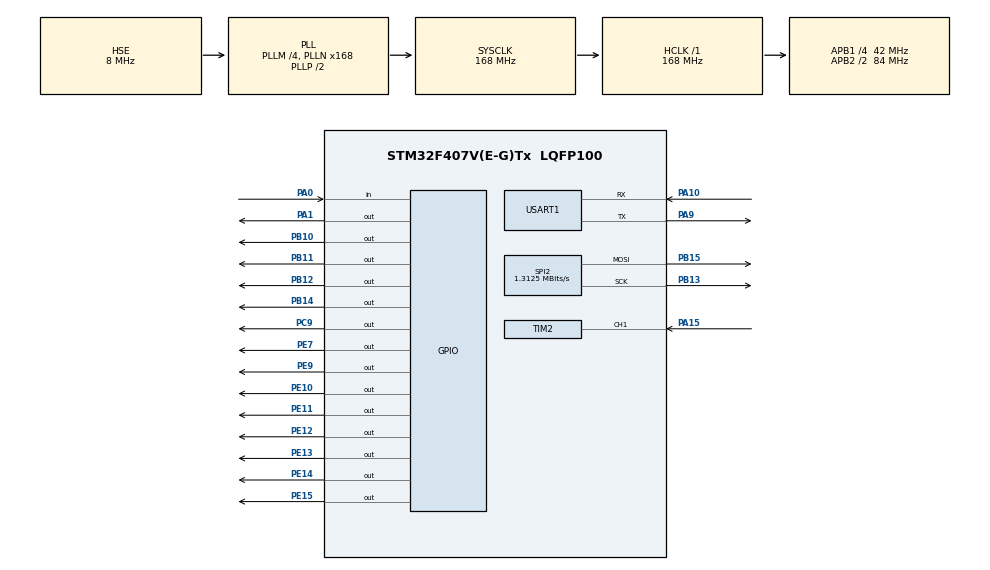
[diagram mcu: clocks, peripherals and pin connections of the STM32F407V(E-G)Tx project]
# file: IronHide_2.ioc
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Mcu.Family=STM32F4
Mcu.Name=STM32F407V(E-G)Tx
Mcu.Package=LQFP100
NVIC.PriorityGroup=NVIC_PRIORITYGROUP_4
NVIC.USART1_IRQn=true\:0\:0\:false\:false\:true\:true\:true
PA0-WKUP.GPIO_PuPd=GPIO_PULLDOWN
PA0-WKUP.Signal=GPIO_Input
PA1.Signal=GPIO_Output
PA10.Mode=Asynchronous
PA10.Signal=USART1_RX
PA13.Mode=Serial_Wire
PA13.Signal=SYS_JTMS-SWDIO
PA14.Mode=Serial_Wire
PA14.Signal=SYS_JTCK-SWCLK
PA15.Signal=S_TIM2_CH1_ETR
PA9.Mode=Asynchronous
PA9.Signal=USART1_TX
PB10.Signal=GPIO_Output
PB11.Signal=GPIO_Output
PB12.Signal=GPIO_Output
PB13.Mode=TX_Only_Simplex_Unidirect_Master
PB13.Signal=SPI2_SCK
PB14.Signal=GPIO_Output
PB15.Mode=TX_Only_Simplex_Unidirect_Master
PB15.Signal=SPI2_MOSI
PC9.Signal=GPIO_Output
PE10.Signal=GPIO_Output
PE11.Signal=GPIO_Output
PE12.Signal=GPIO_Output
PE13.Signal=GPIO_Output
PE14.Signal=GPIO_Output
PE15.Signal=GPIO_Output
PE7.Signal=GPIO_Output
PE9.Signal=GPIO_Output
PH0-OSC_IN.Mode=HSE-External-Oscillator
PH0-OSC_IN.Signal=RCC_OSC_IN
PH1-OSC_OUT.Mode=HSE-External-Oscillator
PH1-OSC_OUT.Signal=RCC_OSC_OUT
ProjectManager.HeapSize=0x200
ProjectManager.StackSize=0x400
ProjectManager.TargetToolchain=STM32CubeIDE
RCC.48MHZClocksFreq_Value=84000000
RCC.AHBFreq_Value=168000000
RCC.APB1CLKDivider=RCC_HCLK_DIV4
RCC.APB1Freq_Value=42000000
RCC.APB1TimFreq_Value=84000000
RCC.APB2CLKDivider=RCC_HCLK_DIV2
RCC.APB2Freq_Value=84000000
RCC.APB2TimFreq_Value=168000000
RCC.CortexFreq_Value=168000000
RCC.HCLKFreq_Value=168000000
RCC.HSE_VALUE=8000000
RCC.HSI_VALUE=16000000
RCC.LSE_VALUE=32768
RCC.PLLM=4
RCC.PLLN=168
RCC.PLLSourceVirtual=RCC_PLLSOURCE_HSE
RCC.SYSCLKFreq_VALUE=168000000
RCC.SYSCLKSource=RCC_SYSCLKSOURCE_PLLCLK
RCC.VCOOutputFreq_Value=336000000
SH.S_TIM2_CH1_ETR.0=TIM2_CH1,Input_Capture1_from_TI1
SPI2.BaudRatePrescaler=SPI_BAUDRATEPRESCALER_32
SPI2.CalculateBaudRate=1.3125 MBits/s
SPI2.Direction=SPI_DIRECTION_2LINES
SPI2.Mode=SPI_MODE_MASTER
SPI2.VirtualType=VM_MASTER
TIM2.Channel-Input_Capture1_from_TI1=TIM_CHANNEL_1
TIM2.ICPolarity_CH1=TIM_INPUTCHANNELPOLARITY_BOTHEDGE
TIM2.Prescaler=168-1
USART1.VirtualMode=VM_ASYNC
board=custom

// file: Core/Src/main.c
/* USER CODE BEGIN Header */
/**
  ******************************************************************************
  * @file           : main.c
  * @brief          : Main program body
  ******************************************************************************
  * @attention
  *
  * <h2><center>&copy; Copyright (c) 2021 STMicroelectronics.
  * All rights reserved.</center></h2>
  *
  * This software component is licensed by ST under BSD 3-Clause license,
  * the "License"; You may not use this file except in compliance with the
  * License. You may obtain a copy of the License at:
  *                        opensource.org/licenses/BSD-3-Clause
  *
  ******************************************************************************
  */
/* USER CODE END Header */
#include "main.h"
#include "spi.h"
#include "tim.h"
#include "usart.h"
#include "gpio.h"

/* USER CODE BEGIN Includes */
#include "ROBOTIN.h"
#include "IMAGES.h"
#include "max7219.h"

/* USER CODE END Includes */

/* USER CODE BEGIN PM */
uint8_t data;				//variable pare recibir datos por Bluetooth
float distance;				//Leer la distancia del sensor HCS04 (ultrasonico)
uint8_t stateSiren;			//estado de la sirena
/* USER CODE END PM */

void SystemClock_Config(void);

int main(void)
{

  /* MCU Configuration--------------------------------------------------------*/

  /* Reset of all peripherals, Initializes the Flash interface and the Systick. */
  HAL_Init();

  /* Configure the system clock */
  SystemClock_Config();

  /* Initialize all configured peripherals */
  MX_GPIO_Init();
  MX_USART1_UART_Init();
  MX_SPI2_Init();
  MX_TIM2_Init();
  /* USER CODE BEGIN 2 */

  MAX72xx_Init();								//configura la matriz de leds
  IronHide_setImage(11);						//borra la matriz de leds
  while(!(HAL_GPIO_ReadPin(GPIOA, GPIO_PIN_0)));//presionar START BUTTON para continuar
  HAL_UART_Receive_IT(&huart1, &data, 1);		//recibe datos bluetooth
  /* USER CODE END 2 */

  /* Infinite loop */
  /* USER CODE BEGIN WHILE */
  IronHide_Init();
  while (1)
  {
    /* USER CODE END WHILE */

    /* USER CODE BEGIN 3 */
	  //distance = HCSR04_Read();
//	  if(distance>20){
//		  Straight();
//		  HAL_GPIO_WritePin(GPIOE, GPIO_PIN_9, GPIO_PIN_SET);
//		  HAL_GPIO_WritePin(GPIOE, GPIO_PIN_11, GPIO_PIN_RESET);
//	  }
//	  else if(distance<20){
//		  TurnLeft();
//		  HAL_GPIO_WritePin(GPIOE, GPIO_PIN_11, GPIO_PIN_SET);
//		  HAL_GPIO_WritePin(GPIOE, GPIO_PIN_9, GPIO_PIN_RESET);
//		  HAL_Delay(300);
//	  }
	  if(stateSiren){			//enciende la sirena
		  IronHide_Alarm();
	  }else{					//apaga la sirena
		  HAL_GPIO_WritePin(BLUE_PORT, BLUE_PIN,GPIO_PIN_RESET);
		  HAL_GPIO_WritePin(RED_PORT, RED_PIN,GPIO_PIN_RESET);
	  }

  }
  /* USER CODE END 3 */
}

void SystemClock_Config(void)
{
  RCC_OscInitTypeDef RCC_OscInitStruct = {0};
  RCC_ClkInitTypeDef RCC_ClkInitStruct = {0};

  /** Configure the main internal regulator output voltage
  */
  __HAL_RCC_PWR_CLK_ENABLE();
  __HAL_PWR_VOLTAGESCALING_CONFIG(PWR_REGULATOR_VOLTAGE_SCALE1);
  /** Initializes the RCC Oscillators according to the specified parameters
  * in the RCC_OscInitTypeDef structure.
  */
  RCC_OscInitStruct.OscillatorType = RCC_OSCILLATORTYPE_HSE;
  RCC_OscInitStruct.HSEState = RCC_HSE_ON;
  RCC_OscInitStruct.PLL.PLLState = RCC_PLL_ON;
  RCC_OscInitStruct.PLL.PLLSource = RCC_PLLSOURCE_HSE;
  RCC_OscInitStruct.PLL.PLLM = 4;
  RCC_OscInitStruct.PLL.PLLN = 168;
  RCC_OscInitStruct.PLL.PLLP = RCC_PLLP_DIV2;
  RCC_OscInitStruct.PLL.PLLQ = 4;
  if (HAL_RCC_OscConfig(&RCC_OscInitStruct) != HAL_OK)
  {
    Error_Handler();
  }
  /** Initializes the CPU, AHB and APB buses clocks
  */
  RCC_ClkInitStruct.ClockType = RCC_CLOCKTYPE_HCLK|RCC_CLOCKTYPE_SYSCLK
                              |RCC_CLOCKTYPE_PCLK1|RCC_CLOCKTYPE_PCLK2;
  RCC_ClkInitStruct.SYSCLKSource = RCC_SYSCLKSOURCE_PLLCLK;
  RCC_ClkInitStruct.AHBCLKDivider = RCC_SYSCLK_DIV1;
  RCC_ClkInitStruct.APB1CLKDivider = RCC_HCLK_DIV4;
  RCC_ClkInitStruct.APB2CLKDivider = RCC_HCLK_DIV2;

  if (HAL_RCC_ClockConfig(&RCC_ClkInitStruct, FLASH_LATENCY_5) != HAL_OK)
  {
    Error_Handler();
  }
}

void Error_Handler(void)
{
  __disable_irq();
  while (1)
  {
  }
}

/************************ (C) COPYRIGHT STMicroelectronics *****END OF FILE****/
